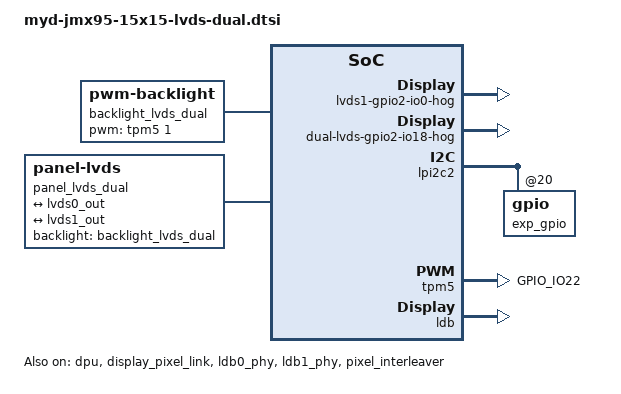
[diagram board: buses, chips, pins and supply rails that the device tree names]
// SPDX-License-Identifier: GPL-2.0+
/*
 * Copyright 2026 MYIR
 */

/ {
	backlight_lvds_dual: backlight-lvds-dual {
		compatible = "pwm-backlight";
		pwms = <&tpm5 1 4000000 0>;
		brightness-levels = <0 45 63 88 119 158 203 255>;
		default-brightness-level = <6>;
	};

	panel_lvds_dual: panel-lvds-dual {
		compatible = "panel-lvds";
		backlight = <&backlight_lvds_dual>;
		width-mm = <154>;
		height-mm = <85>;
		data-mapping = "vesa-24";
		panel-timing {
			clock-frequency = <90000000>;
			hactive = <1280>;
			hfront-porch = <180>;
			hsync-len = <28>;
			hback-porch = <200>;

			vactive = <1024>;
			vfront-porch = <5>;
			vsync-len = <6>;
			vback-porch = <39>;
		};

		ports {
			#address-cells = <1>;
			#size-cells = <0>;

			port@0 {
				reg = <0>;
				dual-lvds-odd-pixels;
				panel_in_odd: endpoint {
					remote-endpoint = <&lvds0_out>;
				};
			};

			port@1 {
				reg = <1>;
				dual-lvds-even-pixels;
				panel_in_even: endpoint {
					remote-endpoint = <&lvds1_out>;
				};
			};
		};
	};
};

&gpio2 {
	lvds1-gpio2-io0-hog {
		gpio-hog;
		gpios = <0 GPIO_ACTIVE_HIGH>;
		output-low;
		status = "okay";
	};
	dual-lvds-gpio2-io18-hog {
		gpio-hog;
		gpios = <18 GPIO_ACTIVE_HIGH>;
		output-high;
		status = "okay";
	};
};

&lpi2c2 {
	status = "okay";
	exp_gpio: gpio@20 {
		dual-lvds-eio-p05-hog {
			gpio-hog;
			gpios = <5 GPIO_ACTIVE_HIGH>;
			output-high;
			status = "okay";
		};
		lvds1-eio-p12-hog {
			gpio-hog;
			gpios = <10 GPIO_ACTIVE_HIGH>;
			output-low;
			status = "okay";
		};
	};
};

&tpm5 {
	pinctrl-names = "default";
	pinctrl-0 = <&pinctrl_tpm5>;
	status = "okay";
};

&dpu {
	assigned-clocks = <&scmi_clk IMX95_CLK_DISP1PIX>,
		<&scmi_clk IMX95_CLK_VIDEOPLL1_VCO>,
		<&scmi_clk IMX95_CLK_VIDEOPLL1>;
	assigned-clock-parents = <&scmi_clk IMX95_CLK_VIDEOPLL1>;
	assigned-clock-rates = <0>, <4008000000>, <445333334>;
	status = "okay";
};

&display_pixel_link {
	status = "okay";
};

&ldb {
	#address-cells = <1>;
	#size-cells = <0>;
	assigned-clocks = <&scmi_clk IMX95_CLK_LDBPLL_VCO>,
			  <&scmi_clk IMX95_CLK_LDBPLL>;
	assigned-clock-rates = <3291120000>, <1097040000>;
	status = "okay";

	channel@0 {
		#address-cells = <1>;
		#size-cells = <0>;
		reg = <0>;
		status = "okay";

		port@1 {
			reg = <1>;

			lvds0_out: endpoint {
				remote-endpoint = <&panel_in_odd>;
			};
		};
	};

	channel@1 {
		#address-cells = <1>;
		#size-cells = <0>;
		reg = <1>;
		status = "okay";

		port@1 {
			reg = <1>;

			lvds1_out: endpoint {
				remote-endpoint = <&panel_in_even>;
			};
		};
	};
};

&ldb0_phy {
	status = "okay";
};

&ldb1_phy {
	status = "okay";
};

&pixel_interleaver {
	#address-cells = <1>;
	#size-cells = <0>;
	status = "okay";

	channel@0 {
		reg = <0>;
		status = "okay";
	};
};

&scmi_iomuxc {
	pinctrl-names = "default";
	pinctrl-0 = <&pinctrl_hog>;
	pinctrl_hog: hoggrp {
		fsl,pins = <
			IMX95_PAD_GPIO_IO00__GPIO2_IO_BIT0    0x31e
			IMX95_PAD_GPIO_IO18__GPIO2_IO_BIT18    0x31e
		>;
	};

	pinctrl_tpm5: tpm5grp {
		fsl,pins = <
			IMX95_PAD_GPIO_IO22__TPM5_CH1    0x51e
		>;
	};
};
